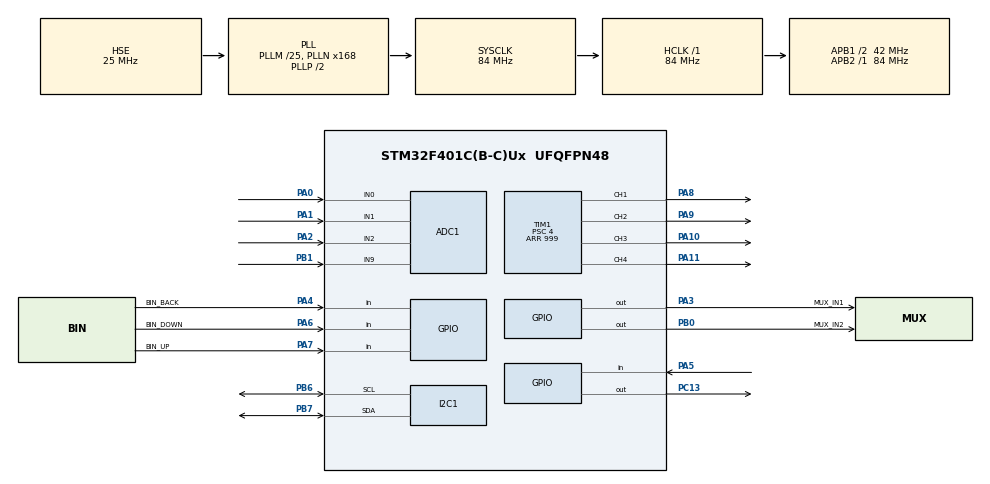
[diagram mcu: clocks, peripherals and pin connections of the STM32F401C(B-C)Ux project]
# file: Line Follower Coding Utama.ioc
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ADC1.Channel-0\#ChannelRegularConversion=ADC_CHANNEL_0
ADC1.Channel-1\#ChannelRegularConversion=ADC_CHANNEL_0
ADC1.Channel-2\#ChannelRegularConversion=ADC_CHANNEL_0
ADC1.Channel-3\#ChannelRegularConversion=ADC_CHANNEL_0
ADC1.ClockPrescaler=ADC_CLOCK_SYNC_PCLK_DIV4
ADC1.ContinuousConvMode=DISABLE
ADC1.EOCSelection=ADC_EOC_SEQ_CONV
ADC1.NbrOfConversion=4
ADC1.NbrOfConversionFlag=1
ADC1.Rank-0\#ChannelRegularConversion=1
ADC1.Rank-1\#ChannelRegularConversion=2
ADC1.Rank-2\#ChannelRegularConversion=3
ADC1.Rank-3\#ChannelRegularConversion=4
ADC1.SamplingTime-0\#ChannelRegularConversion=ADC_SAMPLETIME_480CYCLES
ADC1.SamplingTime-1\#ChannelRegularConversion=ADC_SAMPLETIME_480CYCLES
ADC1.SamplingTime-2\#ChannelRegularConversion=ADC_SAMPLETIME_480CYCLES
ADC1.SamplingTime-3\#ChannelRegularConversion=ADC_SAMPLETIME_480CYCLES
ADC1.ScanConvMode=ENABLE
ADC1.master=1
Dma.ADC1.0.Direction=DMA_PERIPH_TO_MEMORY
Dma.ADC1.0.FIFOMode=DMA_FIFOMODE_DISABLE
Dma.ADC1.0.Instance=DMA2_Stream0
Dma.ADC1.0.MemDataAlignment=DMA_MDATAALIGN_HALFWORD
Dma.ADC1.0.MemInc=DMA_MINC_ENABLE
Dma.ADC1.0.Mode=DMA_NORMAL
Dma.ADC1.0.PeriphDataAlignment=DMA_PDATAALIGN_HALFWORD
Dma.ADC1.0.PeriphInc=DMA_PINC_DISABLE
Dma.ADC1.0.Priority=DMA_PRIORITY_LOW
Dma.Request0=ADC1
Mcu.Family=STM32F4
Mcu.Name=STM32F401C(B-C)Ux
Mcu.Package=UFQFPN48
NVIC.DMA2_Stream0_IRQn=true\:0\:0\:false\:false\:true\:false\:true\:true
NVIC.PriorityGroup=NVIC_PRIORITYGROUP_4
PA0-WKUP.Signal=ADCx_IN0
PA1.Signal=ADCx_IN1
PA10.Signal=S_TIM1_CH3
PA11.Signal=S_TIM1_CH4
PA13.Mode=Serial_Wire
PA13.Signal=SYS_JTMS-SWDIO
PA14.Mode=Serial_Wire
PA14.Signal=SYS_JTCK-SWCLK
PA2.Signal=ADCx_IN2
PA3.GPIO_Label=MUX_IN1
PA3.GPIO_PuPd=GPIO_PULLUP
PA3.GPIO_Speed=GPIO_SPEED_FREQ_HIGH
PA3.Signal=GPIO_Output
PA4.GPIO_Label=BIN_BACK
PA4.GPIO_PuPd=GPIO_PULLUP
PA4.Signal=GPIO_Input
PA5.Signal=GPIO_Input
PA6.GPIO_Label=BIN_DOWN
PA6.GPIO_PuPd=GPIO_PULLUP
PA6.Signal=GPIO_Input
PA7.GPIO_Label=BIN_UP
PA7.GPIO_PuPd=GPIO_PULLUP
PA7.Signal=GPIO_Input
PA8.Signal=S_TIM1_CH1
PA9.Signal=S_TIM1_CH2
PB0.GPIO_Label=MUX_IN2
PB0.GPIO_Speed=GPIO_SPEED_FREQ_HIGH
PB0.Signal=GPIO_Output
PB1.Signal=ADCx_IN9
PB6.GPIO_Pu=GPIO_PULLUP
PB6.Mode=I2C
PB6.Signal=I2C1_SCL
PB7.GPIO_Pu=GPIO_PULLUP
PB7.Mode=I2C
PB7.Signal=I2C1_SDA
PC13-ANTI_TAMP.Signal=GPIO_Output
PH0\ -\ OSC_IN.Mode=HSE-External-Oscillator
PH0\ -\ OSC_IN.Signal=RCC_OSC_IN
PH1\ -\ OSC_OUT.Mode=HSE-External-Oscillator
PH1\ -\ OSC_OUT.Signal=RCC_OSC_OUT
ProjectManager.HeapSize=0x200
ProjectManager.StackSize=0x400
ProjectManager.TargetToolchain=STM32CubeIDE
RCC.48MHZClocksFreq_Value=42000000
RCC.AHBFreq_Value=84000000
RCC.APB1CLKDivider=RCC_HCLK_DIV2
RCC.APB1Freq_Value=42000000
RCC.APB1TimFreq_Value=84000000
RCC.APB2Freq_Value=84000000
RCC.APB2TimFreq_Value=84000000
RCC.CortexFreq_Value=84000000
RCC.HCLKFreq_Value=84000000
RCC.HSE_VALUE=25000000
RCC.HSI_VALUE=16000000
RCC.LSE_VALUE=32768
RCC.PLLM=25
RCC.PLLN=168
RCC.PLLSourceVirtual=RCC_PLLSOURCE_HSE
RCC.SYSCLKFreq_VALUE=84000000
RCC.SYSCLKSource=RCC_SYSCLKSOURCE_PLLCLK
RCC.VCOOutputFreq_Value=168000000
SH.ADCx_IN0.0=ADC1_IN0,IN0
SH.ADCx_IN1.0=ADC1_IN1,IN1
SH.ADCx_IN2.0=ADC1_IN2,IN2
SH.ADCx_IN9.0=ADC1_IN9,IN9
SH.S_TIM1_CH1.0=TIM1_CH1,PWM Generation1 CH1
SH.S_TIM1_CH2.0=TIM1_CH2,PWM Generation2 CH2
SH.S_TIM1_CH3.0=TIM1_CH3,PWM Generation3 CH3
SH.S_TIM1_CH4.0=TIM1_CH4,PWM Generation4 CH4
TIM1.AutoReloadPreload=TIM_AUTORELOAD_PRELOAD_ENABLE
TIM1.Channel-PWM\ Generation1\ CH1=TIM_CHANNEL_1
TIM1.Channel-PWM\ Generation2\ CH2=TIM_CHANNEL_2
TIM1.Channel-PWM\ Generation3\ CH3=TIM_CHANNEL_3
TIM1.Channel-PWM\ Generation4\ CH4=TIM_CHANNEL_4
TIM1.Period=999
TIM1.Prescaler=4
VP_TIM1_VS_ClockSourceINT.Mode=Internal
board=custom

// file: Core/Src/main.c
/* USER CODE BEGIN Header */
/**
  ******************************************************************************
  * @file           : main.c
  * @brief          : Main program body
  ******************************************************************************
  * @attention
  *
  * Copyright (c) 2026 STMicroelectronics.
  * All rights reserved.
  *
  * This software is licensed under terms that can be found in the LICENSE file
  * in the root directory of this software component.
  * If no LICENSE file comes with this software, it is provided AS-IS.
  *
  ******************************************************************************
  */
/* USER CODE END Header */
#include "main.h"

/* USER CODE BEGIN Includes */
#include "app.h"
#include "buttons.h"
/* USER CODE END Includes */

ADC_HandleTypeDef hadc1;
DMA_HandleTypeDef hdma_adc1;

I2C_HandleTypeDef hi2c1;

TIM_HandleTypeDef htim1;

void SystemClock_Config(void);
static void MX_GPIO_Init(void);
static void MX_DMA_Init(void);
static void MX_ADC1_Init(void);
static void MX_TIM1_Init(void);
static void MX_I2C1_Init(void);

int main(void)
{

  /* MCU Configuration--------------------------------------------------------*/

  /* Reset of all peripherals, Initializes the Flash interface and the Systick. */
  HAL_Init();

  /* Configure the system clock */
  SystemClock_Config();

  /* Initialize all configured peripherals */
  MX_GPIO_Init();
  MX_DMA_Init();
  MX_ADC1_Init();
  MX_TIM1_Init();
  MX_I2C1_Init();
  /* USER CODE BEGIN 2 */
  App_Init();
  /* USER CODE END 2 */

  /* Infinite loop */
  while (1)
  {

    /* USER CODE BEGIN 3 */
    App_Update();
  }
  /* USER CODE END 3 */
}

void SystemClock_Config(void)
{
  RCC_OscInitTypeDef RCC_OscInitStruct = {0};
  RCC_ClkInitTypeDef RCC_ClkInitStruct = {0};

  /** Configure the main internal regulator output voltage
  */
  __HAL_RCC_PWR_CLK_ENABLE();
  __HAL_PWR_VOLTAGESCALING_CONFIG(PWR_REGULATOR_VOLTAGE_SCALE2);

  /** Initializes the RCC Oscillators according to the specified parameters
  * in the RCC_OscInitTypeDef structure.
  */
  RCC_OscInitStruct.OscillatorType = RCC_OSCILLATORTYPE_HSE;
  RCC_OscInitStruct.HSEState = RCC_HSE_ON;
  RCC_OscInitStruct.PLL.PLLState = RCC_PLL_ON;
  RCC_OscInitStruct.PLL.PLLSource = RCC_PLLSOURCE_HSE;
  RCC_OscInitStruct.PLL.PLLM = 25;
  RCC_OscInitStruct.PLL.PLLN = 168;
  RCC_OscInitStruct.PLL.PLLP = RCC_PLLP_DIV2;
  RCC_OscInitStruct.PLL.PLLQ = 4;
  if (HAL_RCC_OscConfig(&RCC_OscInitStruct) != HAL_OK)
  {
    Error_Handler();
  }

  /** Initializes the CPU, AHB and APB buses clocks
  */
  RCC_ClkInitStruct.ClockType = RCC_CLOCKTYPE_HCLK|RCC_CLOCKTYPE_SYSCLK
                              |RCC_CLOCKTYPE_PCLK1|RCC_CLOCKTYPE_PCLK2;
  RCC_ClkInitStruct.SYSCLKSource = RCC_SYSCLKSOURCE_PLLCLK;
  RCC_ClkInitStruct.AHBCLKDivider = RCC_SYSCLK_DIV1;
  RCC_ClkInitStruct.APB1CLKDivider = RCC_HCLK_DIV2;
  RCC_ClkInitStruct.APB2CLKDivider = RCC_HCLK_DIV1;

  if (HAL_RCC_ClockConfig(&RCC_ClkInitStruct, FLASH_LATENCY_2) != HAL_OK)
  {
    Error_Handler();
  }
}

static void MX_ADC1_Init(void)
{

  ADC_ChannelConfTypeDef sConfig = {0};

  /** Configure the global features of the ADC (Clock, Resolution, Data Alignment and number of conversion)
  */
  hadc1.Instance = ADC1;
  hadc1.Init.ClockPrescaler = ADC_CLOCK_SYNC_PCLK_DIV4;
  hadc1.Init.Resolution = ADC_RESOLUTION_12B;
  hadc1.Init.ScanConvMode = ENABLE;
  hadc1.Init.ContinuousConvMode = DISABLE;
  hadc1.Init.DiscontinuousConvMode = DISABLE;
  hadc1.Init.ExternalTrigConvEdge = ADC_EXTERNALTRIGCONVEDGE_NONE;
  hadc1.Init.ExternalTrigConv = ADC_SOFTWARE_START;
  hadc1.Init.DataAlign = ADC_DATAALIGN_RIGHT;
  hadc1.Init.NbrOfConversion = 4;
  hadc1.Init.DMAContinuousRequests = DISABLE;
  hadc1.Init.EOCSelection = ADC_EOC_SEQ_CONV;
  if (HAL_ADC_Init(&hadc1) != HAL_OK)
  {
    Error_Handler();
  }

  /** Configure for the selected ADC regular channel its corresponding rank in the sequencer and its sample time.
  */
  sConfig.Channel = ADC_CHANNEL_0;
  sConfig.Rank = 1;
  sConfig.SamplingTime = ADC_SAMPLETIME_480CYCLES;
  if (HAL_ADC_ConfigChannel(&hadc1, &sConfig) != HAL_OK)
  {
    Error_Handler();
  }

  /** Configure for the selected ADC regular channel its corresponding rank in the sequencer and its sample time.
  */
  sConfig.Rank = 2;
  if (HAL_ADC_ConfigChannel(&hadc1, &sConfig) != HAL_OK)
  {
    Error_Handler();
  }

  /** Configure for the selected ADC regular channel its corresponding rank in the sequencer and its sample time.
  */
  sConfig.Rank = 3;
  if (HAL_ADC_ConfigChannel(&hadc1, &sConfig) != HAL_OK)
  {
    Error_Handler();
  }

  /** Configure for the selected ADC regular channel its corresponding rank in the sequencer and its sample time.
  */
  sConfig.Rank = 4;
  if (HAL_ADC_ConfigChannel(&hadc1, &sConfig) != HAL_OK)
  {
    Error_Handler();
  }
  /* USER CODE BEGIN ADC1_Init 2 */
  /* Perbaiki kanal Rank 1..4 sesuai wiring Dariyan-X: Out1=PA0(CH0), Out2=PA1(CH1), Out3=PA2(CH2), Out4=PB1(CH9) */
  sConfig.SamplingTime = ADC_SAMPLETIME_480CYCLES;
  sConfig.Channel = ADC_CHANNEL_0; sConfig.Rank = 1;
  if (HAL_ADC_ConfigChannel(&hadc1, &sConfig) != HAL_OK) { Error_Handler(); }
  sConfig.Channel = ADC_CHANNEL_1; sConfig.Rank = 2;
  if (HAL_ADC_ConfigChannel(&hadc1, &sConfig) != HAL_OK) { Error_Handler(); }
  sConfig.Channel = ADC_CHANNEL_2; sConfig.Rank = 3;
  if (HAL_ADC_ConfigChannel(&hadc1, &sConfig) != HAL_OK) { Error_Handler(); }
  sConfig.Channel = ADC_CHANNEL_9; sConfig.Rank = 4;
  if (HAL_ADC_ConfigChannel(&hadc1, &sConfig) != HAL_OK) { Error_Handler(); }
  /* USER CODE END ADC1_Init 2 */

}

static void MX_I2C1_Init(void)
{

  hi2c1.Instance = I2C1;
  hi2c1.Init.ClockSpeed = 100000;
  hi2c1.Init.DutyCycle = I2C_DUTYCYCLE_2;
  hi2c1.Init.OwnAddress1 = 0;
  hi2c1.Init.AddressingMode = I2C_ADDRESSINGMODE_7BIT;
  hi2c1.Init.DualAddressMode = I2C_DUALADDRESS_DISABLE;
  hi2c1.Init.OwnAddress2 = 0;
  hi2c1.Init.GeneralCallMode = I2C_GENERALCALL_DISABLE;
  hi2c1.Init.NoStretchMode = I2C_NOSTRETCH_DISABLE;
  if (HAL_I2C_Init(&hi2c1) != HAL_OK)
  {
    Error_Handler();
  }

}

static void MX_TIM1_Init(void)
{

  TIM_ClockConfigTypeDef sClockSourceConfig = {0};
  TIM_MasterConfigTypeDef sMasterConfig = {0};
  TIM_OC_InitTypeDef sConfigOC = {0};
  TIM_BreakDeadTimeConfigTypeDef sBreakDeadTimeConfig = {0};

  htim1.Instance = TIM1;
  htim1.Init.Prescaler = 4;
  htim1.Init.CounterMode = TIM_COUNTERMODE_UP;
  htim1.Init.Period = 999;
  htim1.Init.ClockDivision = TIM_CLOCKDIVISION_DIV1;
  htim1.Init.RepetitionCounter = 0;
  htim1.Init.AutoReloadPreload = TIM_AUTORELOAD_PRELOAD_ENABLE;
  if (HAL_TIM_Base_Init(&htim1) != HAL_OK)
  {
    Error_Handler();
  }
  sClockSourceConfig.ClockSource = TIM_CLOCKSOURCE_INTERNAL;
  if (HAL_TIM_ConfigClockSource(&htim1, &sClockSourceConfig) != HAL_OK)
  {
    Error_Handler();
  }
  if (HAL_TIM_PWM_Init(&htim1) != HAL_OK)
  {
    Error_Handler();
  }
  sMasterConfig.MasterOutputTrigger = TIM_TRGO_RESET;
  sMasterConfig.MasterSlaveMode = TIM_MASTERSLAVEMODE_DISABLE;
  if (HAL_TIMEx_MasterConfigSynchronization(&htim1, &sMasterConfig) != HAL_OK)
  {
    Error_Handler();
  }
  sConfigOC.OCMode = TIM_OCMODE_PWM1;
  sConfigOC.Pulse = 0;
  sConfigOC.OCPolarity = TIM_OCPOLARITY_HIGH;
  sConfigOC.OCNPolarity = TIM_OCNPOLARITY_HIGH;
  sConfigOC.OCFastMode = TIM_OCFAST_DISABLE;
  sConfigOC.OCIdleState = TIM_OCIDLESTATE_RESET;
  sConfigOC.OCNIdleState = TIM_OCNIDLESTATE_RESET;
  if (HAL_TIM_PWM_ConfigChannel(&htim1, &sConfigOC, TIM_CHANNEL_1) != HAL_OK)
  {
    Error_Handler();
  }
  if (HAL_TIM_PWM_ConfigChannel(&htim1, &sConfigOC, TIM_CHANNEL_2) != HAL_OK)
  {
    Error_Handler();
  }
  if (HAL_TIM_PWM_ConfigChannel(&htim1, &sConfigOC, TIM_CHANNEL_3) != HAL_OK)
  {
    Error_Handler();
  }
  if (HAL_TIM_PWM_ConfigChannel(&htim1, &sConfigOC, TIM_CHANNEL_4) != HAL_OK)
  {
    Error_Handler();
  }
  sBreakDeadTimeConfig.OffStateRunMode = TIM_OSSR_DISABLE;
  sBreakDeadTimeConfig.OffStateIDLEMode = TIM_OSSI_DISABLE;
  sBreakDeadTimeConfig.LockLevel = TIM_LOCKLEVEL_OFF;
  sBreakDeadTimeConfig.DeadTime = 0;
  sBreakDeadTimeConfig.BreakState = TIM_BREAK_DISABLE;
  sBreakDeadTimeConfig.BreakPolarity = TIM_BREAKPOLARITY_HIGH;
  sBreakDeadTimeConfig.AutomaticOutput = TIM_AUTOMATICOUTPUT_DISABLE;
  if (HAL_TIMEx_ConfigBreakDeadTime(&htim1, &sBreakDeadTimeConfig) != HAL_OK)
  {
    Error_Handler();
  }
  /* USER CODE BEGIN TIM1_Init 2 */
  /* Set frekuensi PWM default 1 kHz (PSC=83, ARR=999 pada clock 84 MHz) untuk driver ZK-5AD */
  __HAL_TIM_SET_PRESCALER(&htim1, 83);
  htim1.Instance->EGR = TIM_EGR_UG;
  /* USER CODE END TIM1_Init 2 */
  HAL_TIM_MspPostInit(&htim1);

}

static void MX_DMA_Init(void)
{

  /* DMA controller clock enable */
  __HAL_RCC_DMA2_CLK_ENABLE();

  /* DMA interrupt init */
  /* DMA2_Stream0_IRQn interrupt configuration */
  HAL_NVIC_SetPriority(DMA2_Stream0_IRQn, 0, 0);
  HAL_NVIC_EnableIRQ(DMA2_Stream0_IRQn);

}

static void MX_GPIO_Init(void)
{
  GPIO_InitTypeDef GPIO_InitStruct = {0};

  /* GPIO Ports Clock Enable */
  __HAL_RCC_GPIOC_CLK_ENABLE();
  __HAL_RCC_GPIOH_CLK_ENABLE();
  __HAL_RCC_GPIOA_CLK_ENABLE();
  __HAL_RCC_GPIOB_CLK_ENABLE();

  /*Configure GPIO pin Output Level */
  HAL_GPIO_WritePin(GPIOC, GPIO_PIN_13, GPIO_PIN_RESET);

  /*Configure GPIO pin Output Level */
  HAL_GPIO_WritePin(MUX_IN1_GPIO_Port, MUX_IN1_Pin, GPIO_PIN_RESET);

  /*Configure GPIO pin Output Level */
  HAL_GPIO_WritePin(MUX_IN2_GPIO_Port, MUX_IN2_Pin, GPIO_PIN_RESET);

  /*Configure GPIO pin : PC13 */
  GPIO_InitStruct.Pin = GPIO_PIN_13;
  GPIO_InitStruct.Mode = GPIO_MODE_OUTPUT_PP;
  GPIO_InitStruct.Pull = GPIO_NOPULL;
  GPIO_InitStruct.Speed = GPIO_SPEED_FREQ_LOW;
  HAL_GPIO_Init(GPIOC, &GPIO_InitStruct);

  /*Configure GPIO pin : MUX_IN1_Pin */
  GPIO_InitStruct.Pin = MUX_IN1_Pin;
  GPIO_InitStruct.Mode = GPIO_MODE_OUTPUT_PP;
  GPIO_InitStruct.Pull = GPIO_PULLUP;
  GPIO_InitStruct.Speed = GPIO_SPEED_FREQ_HIGH;
  HAL_GPIO_Init(MUX_IN1_GPIO_Port, &GPIO_InitStruct);

  /*Configure GPIO pins : BIN_BACK_Pin BIN_DOWN_Pin BIN_UP_Pin */
  GPIO_InitStruct.Pin = BIN_BACK_Pin|BIN_DOWN_Pin|BIN_UP_Pin;
  GPIO_InitStruct.Mode = GPIO_MODE_INPUT;
  GPIO_InitStruct.Pull = GPIO_PULLUP;
  HAL_GPIO_Init(GPIOA, &GPIO_InitStruct);

  /*Configure GPIO pin : PA5 */
  GPIO_InitStruct.Pin = GPIO_PIN_5;
  GPIO_InitStruct.Mode = GPIO_MODE_INPUT;
  GPIO_InitStruct.Pull = GPIO_NOPULL;
  HAL_GPIO_Init(GPIOA, &GPIO_InitStruct);

  /*Configure GPIO pin : MUX_IN2_Pin */
  GPIO_InitStruct.Pin = MUX_IN2_Pin;
  GPIO_InitStruct.Mode = GPIO_MODE_OUTPUT_PP;
  GPIO_InitStruct.Pull = GPIO_NOPULL;
  GPIO_InitStruct.Speed = GPIO_SPEED_FREQ_HIGH;
  HAL_GPIO_Init(MUX_IN2_GPIO_Port, &GPIO_InitStruct);

  /* USER CODE BEGIN MX_GPIO_Init_2 */
  /* Pastikan keempat pin tombol PA4..PA7 memakai pull-up internal (PA5 di .ioc tergenerate NOPULL)
   * dan LED onboard PC13 dimatikan sejak awal boot (active LOW -> SET). */
  HAL_GPIO_WritePin(GPIOC, GPIO_PIN_13, GPIO_PIN_SET);
  GPIO_InitStruct.Pin   = GPIO_PIN_4 | GPIO_PIN_5 | GPIO_PIN_6 | GPIO_PIN_7;
  GPIO_InitStruct.Mode  = GPIO_MODE_INPUT;
  GPIO_InitStruct.Pull  = GPIO_PULLUP;
  GPIO_InitStruct.Speed = GPIO_SPEED_FREQ_LOW;
  HAL_GPIO_Init(GPIOA, &GPIO_InitStruct);
  /* USER CODE END MX_GPIO_Init_2 */
}

void Error_Handler(void)
{
  __disable_irq();
  while (1)
  {
  }
}
